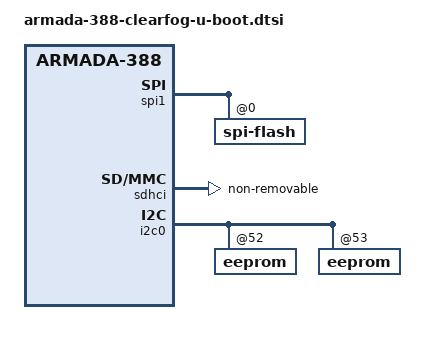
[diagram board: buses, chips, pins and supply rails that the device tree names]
// SPDX-License-Identifier: GPL-2.0+

&spi1 {
	bootph-pre-ram;

	spi-flash@0 {
		bootph-pre-ram;
	};
};

&sdhci {
	bootph-pre-ram;
	non-removable; /* assume that the card is always present, required for eMMC variant */
};

&gpio0 {
	bootph-pre-ram;
};

&ahci0 {
	bootph-pre-ram;
};

&ahci1 {
	bootph-pre-ram;
};

&i2c0 {
	bootph-pre-ram;

	eeprom@52 {
		bootph-pre-ram;
	};

	eeprom@53 {
		bootph-pre-ram;
	};
};

#include "mvebu-u-boot.dtsi"
